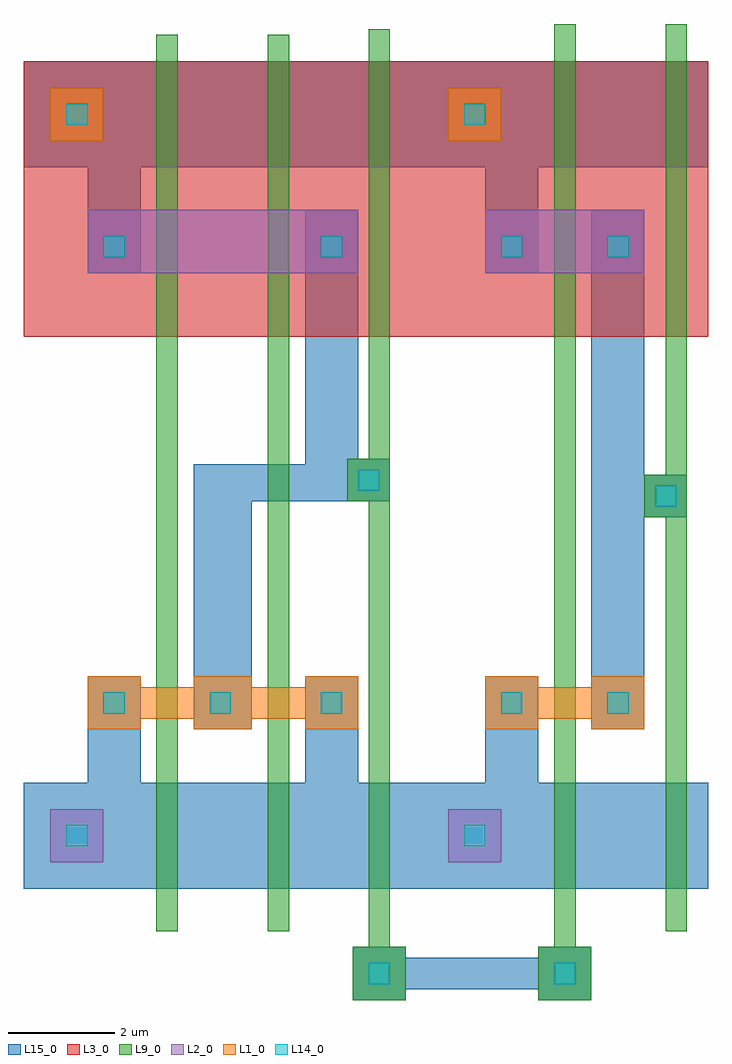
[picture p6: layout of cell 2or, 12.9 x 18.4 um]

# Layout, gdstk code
import gdstk
lib = gdstk.Library(unit=1e-6, precision=1e-09)
def R(c, l, rs):  # rectangles x0, y0, x1, y1
    for r in rs: c.add(gdstk.rectangle(r[:2], r[2:], *l))
def P(c, l, *ps):  # polygons
    for p in ps: c.add(gdstk.Polygon(p, *l))
L1_0 = (1, 0)
L2_0 = (2, 0)
L3_0 = (3, 0)
L9_0 = (9, 0)
L14_0 = (14, 0)
L15_0 = (15, 0)

c_2or = lib.new_cell('2or')
R(c_2or, L1_0, [(-7.3,6.3,-6.3,7.3), (0.2,6.3,1.2,7.3)])
P(c_2or, L1_0, [(0.9,-3.8),(0.9,-4.8),(1.9,-4.8),(1.9,-4.6),(2.9,-4.6),(2.9,-4.8),(3.9,-4.8),(3.9,-3.8),(2.9,-3.8),(2.9,-4),(1.9,-4),(1.9,-3.8)],
  [(-4.6,-4),(-5.6,-4),(-5.6,-3.8),(-6.6,-3.8),(-6.6,-4.8),(-5.6,-4.8),(-5.6,-4.6),(-4.6,-4.6),(-4.6,-4.8),(-3.5,-4.8),(-3.5,-4.6),(-2.5,-4.6),(-2.5,-4.8),(-1.5,-4.8),(-1.5,-3.8),(-2.5,-3.8),(-2.5,-4),(-3.5,-4),(-3.5,-3.8),(-4.6,-3.8)])
R(c_2or, L2_0, [(-7.3,-7.3,-6.3,-6.3), (0.2,-7.3,1.2,-6.3), (-6.6,3.8,-1.5,5), (0.9,3.8,3.9,5)])
R(c_2or, L3_0, [(-7.8,2.6,-0.3,7.8), (-0.3,2.6,5.1,7.8)])
R(c_2or, L9_0, [(-5.3,-8.6,-4.9,8.3), (-3.2,-8.6,-2.8,8.3)])
P(c_2or, L9_0, [(4.3,-0.8),(4.3,-8.6),(4.7,-8.6),(4.7,8.5),(4.3,8.5),(4.3,0),(3.9,0),(3.9,-0.8)],
  [(2.9,-9.9),(2.9,-8.9),(2.6,-8.9),(2.6,8.5),(2.2,8.5),(2.2,-8.9),(1.9,-8.9),(1.9,-9.9)],
  [(-0.6,-9.9),(-0.6,-8.9),(-0.9,-8.9),(-0.9,8.4),(-1.3,8.4),(-1.3,0.3),(-1.7,0.3),(-1.7,-0.5),(-1.3,-0.5),(-1.3,-8.9),(-1.6,-8.9),(-1.6,-9.9)])
R(c_2or, L14_0, [(-1.3,-9.6,-0.9,-9.2), (2.2,-9.6,2.6,-9.2), (-7,-7,-6.6,-6.6), (0.5,-7,0.9,-6.6), (-6.3,-4.5,-5.9,-4.1), (-4.3,-4.5,-3.9,-4.1), (-2.2,-4.5,-1.8,-4.1), (1.2,-4.5,1.6,-4.1), (3.2,-4.5,3.6,-4.1), (4.1,-0.6,4.5,-0.2), (-1.5,-0.3,-1.1,0.1), (-6.3,4.1,-5.9,4.5), (-2.2,4.1,-1.8,4.5), (1.2,4.1,1.6,4.5), (3.2,4.1,3.6,4.5), (-7,6.6,-6.6,7), (0.5,6.6,0.9,7)])
R(c_2or, L15_0, [(-1.6,-9.9,-0.6,-8.9), (1.9,-9.9,2.9,-8.9), (-0.6,-9.7,1.9,-9.1)])
P(c_2or, L15_0, [(1.9,5.8),(5.1,5.8),(5.1,7.8),(-0.3,7.8),(-0.3,5.8),(0.9,5.8),(0.9,3.8),(1.9,3.8)],
  [(1.9,-5.8),(1.9,-3.8),(0.9,-3.8),(0.9,-5.8),(-0.3,-5.8),(-0.3,-7.8),(5.1,-7.8),(5.1,-5.8)],
  [(3.9,0),(3.9,5),(2.9,5),(2.9,-4.8),(3.9,-4.8),(3.9,-0.8),(4.7,-0.8),(4.7,0)],
  [(-2.5,-5.8),(-5.6,-5.8),(-5.6,-3.8),(-6.6,-3.8),(-6.6,-5.8),(-7.8,-5.8),(-7.8,-7.8),(-0.3,-7.8),(-0.3,-5.8),(-1.5,-5.8),(-1.5,-3.8),(-2.5,-3.8)],
  [(-0.3,5.8),(-0.3,7.8),(-7.8,7.8),(-7.8,5.8),(-6.6,5.8),(-6.6,3.8),(-5.6,3.8),(-5.6,5.8)],
  [(-0.9,0.3),(-1.5,0.3),(-1.5,5),(-2.5,5),(-2.5,0.2),(-4.6,0.2),(-4.6,-4.8),(-3.5,-4.8),(-3.5,-0.5),(-0.9,-0.5)])

lib.write_gds('2or.gds')
